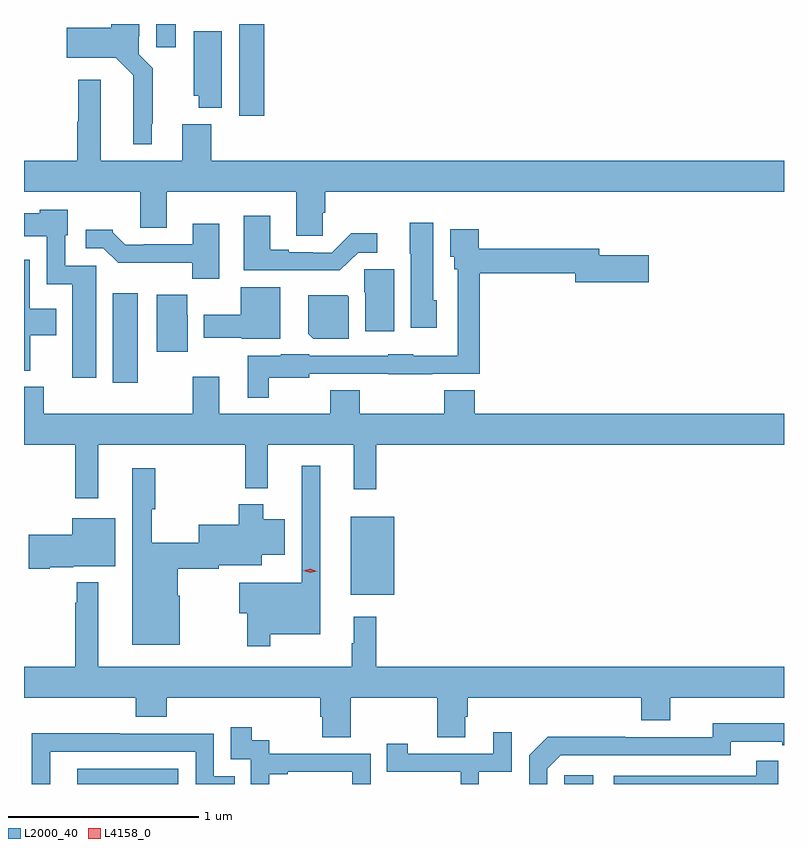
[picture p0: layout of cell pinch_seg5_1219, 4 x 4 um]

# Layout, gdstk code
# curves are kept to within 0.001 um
import gdstk
lib = gdstk.Library(unit=1e-6, precision=1e-09)
def R(c, l, rs):  # rectangles x0, y0, x1, y1
    for r in rs: c.add(gdstk.rectangle(r[:2], r[2:], *l))
def P(c, l, *ps):  # polygons
    for p in ps: c.add(gdstk.Polygon(p, *l))
L2000_40 = (2000, 40)
L4158_0 = (4158, 0)

pinch_seg5_1219 = lib.new_cell('pinch_seg5_1219')
R(pinch_seg5_1219, L2000_40, [(394.047,884.279,394.581,884.358), (396.612,884.279,396.763,884.326), (395.489,885.275,395.716,885.685), (394.235,886.392,394.366,886.861), (394.901,887.796,395.033,888.279), (394.463,888.156,394.567,888.279)])
P(pinch_seg5_1219, L2000_40, [(394.441,887.755),(394.445,887.755),(394.445,888.046),(394.371,888.12),(394.371,888.214),(394.375,888.214),(394.375,888.279),(394.226,888.279),(394.226,888.259),(393.993,888.259),(393.993,888.101),(394.251,888.101),(394.344,888.008),(394.343,887.645),(394.441,887.645)],
  [(394.81,888.242),(394.661,888.242),(394.661,887.901),(394.688,887.901),(394.688,887.837),(394.81,887.837)],
  [(395.34,887.286),(395.354,887.286),(395.354,887.396),(397.768,887.396),(397.768,887.56),(394.754,887.56),(394.754,887.752),(394.601,887.752),(394.601,887.56),(394.171,887.56),(394.171,887.986),(394.054,887.986),(394.054,887.765),(394.049,887.765),(394.049,887.56),(393.768,887.56),(393.768,887.396),(394.379,887.396),(394.379,887.206),(394.519,887.206),(394.519,887.396),(395.201,887.396),(395.201,887.164),(395.34,887.164)],
  [(394.147,887.007),(393.984,887.007),(393.984,887.166),(393.997,887.166),(393.997,887.302),(393.852,887.302),(393.852,887.284),(393.768,887.284),(393.768,887.162),(393.888,887.162),(393.888,886.91),(394.022,886.91),(394.022,886.416),(394.147,886.416)],
  [(395.526,887.076),(395.626,887.076),(395.626,887.179),(395.491,887.179),(395.388,887.076),(395.288,887.076),(395.288,887.079),(395.161,887.079),(395.161,887.092),(395.065,887.092),(395.065,887.269),(394.925,887.269),(394.925,886.982),(395.431,886.982)],
  [(395.941,886.824),(395.923,886.824),(395.923,887.233),(395.798,887.233),(395.798,887.07),(395.804,887.07),(395.804,886.68),(395.941,886.68)],
  [(394.795,887.227),(394.655,887.227),(394.655,887.121),(394.399,887.121),(394.399,887.118),(394.3,887.118),(394.236,887.182),(394.236,887.197),(394.092,887.197),(394.092,887.1),(394.185,887.1),(394.264,887.022),(394.653,887.022),(394.653,886.937),(394.795,886.937)],
  [(395.056,886.418),(395.268,886.418),(395.268,886.437),(395.685,886.437),(395.685,886.436),(395.917,886.436),(395.917,886.437),(396.167,886.437),(396.167,886.966),(396.668,886.966),(396.668,886.919),(397.057,886.919),(397.057,887.061),(396.796,887.061),(396.796,887.095),(396.161,887.095),(396.161,887.2),(396.011,887.2),(396.011,887.055),(396.032,887.055),(396.032,886.989),(396.051,886.989),(396.051,886.534),(395.817,886.534),(395.817,886.54),(395.685,886.54),(395.685,886.533),(395.268,886.533),(395.268,886.54),(395.118,886.54),(395.118,886.534),(394.946,886.534),(394.946,886.313),(395.056,886.313)],
  [(393.801,886.64),(393.937,886.64),(393.937,886.78),(393.798,886.78),(393.798,887.037),(393.768,887.037),(393.768,886.454),(393.801,886.454)],
  [(395.716,886.989),(395.56,886.989),(395.56,886.866),(395.564,886.866),(395.564,886.662),(395.716,886.662)],
  [(395.116,886.894),(394.91,886.894),(394.91,886.75),(394.715,886.75),(394.715,886.628),(394.914,886.628),(394.914,886.622),(395.116,886.622)],
  [(394.63,886.746),(394.628,886.746),(394.628,886.855),(394.466,886.855),(394.466,886.554),(394.63,886.554)],
  [(395.476,886.844),(395.468,886.852),(395.264,886.852),(395.264,886.648),(395.29,886.622),(395.476,886.622)],
  [(395.535,886.352),(395.38,886.352),(395.38,886.228),(394.795,886.228),(394.795,886.423),(394.655,886.423),(394.655,886.228),(393.872,886.228),(393.872,886.369),(393.768,886.369),(393.768,886.064),(394.038,886.064),(394.038,885.783),(394.159,885.783),(394.159,886.064),(394.933,886.064),(394.933,885.836),(395.051,885.836),(395.051,886.064),(395.504,886.064),(395.504,885.831),(395.621,885.831),(395.621,886.064),(397.768,886.064),(397.768,886.228),(396.14,886.228),(396.14,886.352),(395.98,886.352),(395.98,886.228),(395.535,886.228)],
  [(395.065,885.068),(395.326,885.068),(395.326,885.955),(395.229,885.955),(395.229,885.337),(394.902,885.337),(394.902,885.179),(394.944,885.179),(394.944,885.003),(395.065,885.003)],
  [(394.588,885.27),(394.576,885.27),(394.576,885.412),(394.792,885.412),(394.792,885.431),(395.02,885.431),(395.02,885.485),(395.14,885.485),(395.14,885.673),(395.026,885.673),(395.026,885.751),(394.897,885.751),(394.897,885.643),(394.688,885.643),(394.688,885.548),(394.441,885.548),(394.441,885.726),(394.459,885.726),(394.459,885.94),(394.337,885.94),(394.337,885.011),(394.588,885.011)],
  [(393.904,885.419),(394.026,885.419),(394.026,885.425),(394.249,885.425),(394.249,885.679),(394.022,885.679),(394.022,885.591),(393.792,885.591),(393.792,885.413),(393.904,885.413)],
  [(395.487,884.732),(395.944,884.732),(395.944,884.524),(396.091,884.524),(396.091,884.634),(396.104,884.634),(396.104,884.732),(397.016,884.732),(397.016,884.615),(397.168,884.615),(397.168,884.732),(397.768,884.732),(397.768,884.896),(395.621,884.896),(395.621,885.16),(395.504,885.16),(395.504,885.02),(395.493,885.02),(395.493,884.896),(394.159,884.896),(394.159,885.34),(394.045,885.34),(394.045,885.233),(394.038,885.233),(394.038,884.896),(393.768,884.896),(393.768,884.732),(394.355,884.732),(394.355,884.633),(394.52,884.633),(394.52,884.732),(395.327,884.732),(395.327,884.634),(395.339,884.634),(395.339,884.524),(395.487,884.524)],
  [(396.522,884.358),(396.594,884.43),(397.488,884.43),(397.488,884.502),(397.76,884.502),(397.76,884.482),(397.768,884.482),(397.768,884.598),(397.392,884.599),(397.392,884.526),(396.932,884.526),(396.932,884.528),(396.524,884.528),(396.426,884.43),(396.426,884.279),(396.522,884.279)],
  [(395.06,884.331),(395.155,884.331),(395.155,884.343),(395.496,884.343),(395.496,884.279),(395.592,884.279),(395.592,884.439),(395.058,884.439),(395.058,884.508),(394.966,884.508),(394.966,884.578),(394.857,884.578),(394.857,884.409),(394.962,884.409),(394.962,884.279),(395.06,884.279)],
  [(396.162,884.343),(396.336,884.343),(396.336,884.551),(396.239,884.551),(396.239,884.439),(395.788,884.439),(395.788,884.491),(395.677,884.491),(395.677,884.343),(396.066,884.343),(396.066,884.279),(396.162,884.279)],
  [(393.906,884.448),(394.671,884.448),(394.671,884.279),(394.877,884.279),(394.877,884.319),(394.767,884.319),(394.767,884.544),(394.271,884.544),(394.271,884.546),(393.808,884.546),(393.808,884.279),(393.906,884.279)],
  [(397.739,884.401),(397.621,884.401),(397.621,884.322),(396.873,884.322),(396.873,884.279),(397.739,884.279)])
P(pinch_seg5_1219, L4158_0, [(395.274,885.391),(395.239,885.402),(395.239,885.402),(395.239,885.402),(395.275,885.411),(395.31,885.399),(395.311,885.399),(395.31,885.399)])

lib.write_gds('pinch_seg5_1219.gds')
